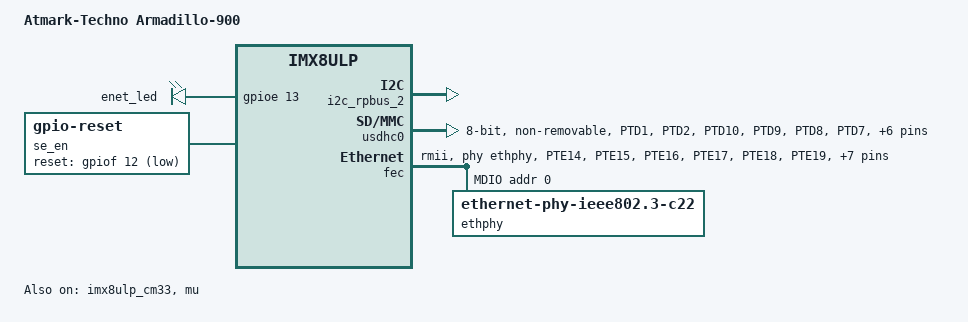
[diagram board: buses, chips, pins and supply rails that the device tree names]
// SPDX-License-Identifier: (GPL-2.0 OR MIT)
/*
 * Copyright (C) 2021 Atmark Techno, Inc. All Rights Reserved.
 */

#include "imx8ulp.dtsi"
#include "imx8ulp-rpmsg.dtsi"
#include "imx8ulp-pinfunc-m33.h"
#include <dt-bindings/input/input.h>
#include <dt-bindings/leds/common.h>

/ {
	model = "Atmark-Techno Armadillo-900";
	compatible = "atmark,armadillo-900", "fsl,imx8ulp";

	reserved-memory {
		#address-cells = <2>;
		#size-cells = <2>;
		ranges;

		linux,cma {
			compatible = "shared-dma-pool";
			reusable;
			size = <0 0x28000000>;
			linux,cma-default;
		};

		rsc_table: rsc_table@1fff8000{
			reg = <0 0x1fff8000 0 0x1000>;
			no-map;
		};

		vdev0vring0: vdev0vring0@aff00000 {
			reg = <0 0xaff00000 0 0x8000>;
			no-map;
		};

		vdev0vring1: vdev0vring1@aff08000 {
			reg = <0 0xaff08000 0 0x8000>;
			no-map;
		};

		vdev1vring0: vdev1vring0@aff10000 {
			reg = <0 0xaff10000 0 0x8000>;
			no-map;
		};

		vdev1vring1: vdev1vring1@aff18000 {
			reg = <0 0xaff18000 0 0x8000>;
			no-map;
		};

		ele_reserved: ele-reserved@aff20000 {
			compatible = "shared-dma-pool";
			reg = <0 0xaff20000 0 0x10000>;
			no-map;
		};

		vdevbuffer: vdevbuffer@a8400000 {
			compatible = "shared-dma-pool";
			reg = <0 0xa8400000 0 0x100000>;
			no-map;
		};
	};

	leds {
		compatible = "gpio-leds";

		enet_led {
			label = "enet_led";
			gpios = <&gpioe 13 GPIO_ACTIVE_HIGH>;
			linux,default-trigger = "29950000.ethernet-1:00:100Mbps";
		};
	};

	// secure element
	se_en: se-enable {
		compatible = "gpio-reset";
		pinctrl-names = "default";
		pinctrl-0 = <&pinctrl_se_enable>;
		reset-gpios = <&gpiof 12 GPIO_ACTIVE_LOW>;
		reset-assert-in-suspend;
	};
};

// secure element
&i2c_rpbus_2 {
	#address-cells = <1>;
	#size-cells = <0>;
	status = "okay";
};


&imx8ulp_cm33 {
	ipc-only;
	rsc-da=<0x1fff8000>;
	mbox-names = "tx", "rx", "rxdb";
	mboxes = <&mu 0 1
			&mu 1 1
			&mu 3 1>;
	memory-region = <&vdevbuffer>, <&vdev0vring0>, <&vdev0vring1>,
			<&vdev1vring0>, <&vdev1vring1>, <&rsc_table>;
	status = "okay";
};

&mu {
	status = "okay";
};

// emmc
&usdhc0 {
	pinctrl-names = "default", "state_100mhz", "state_200mhz", "sleep";
	pinctrl-0 = <&pinctrl_usdhc0>;
	pinctrl-1 = <&pinctrl_usdhc0>;
	pinctrl-2 = <&pinctrl_usdhc0>;
	pinctrl-3 = <&pinctrl_usdhc0>;
	non-removable;
	bus-width = <8>;
	status = "okay";
};

//ethernet PHY
&fec {
	pinctrl-names = "default", "sleep";
	pinctrl-0 = <&pinctrl_enet>;
	pinctrl-1 = <&pinctrl_enet>;
	phy-mode = "rmii";
	phy-handle = <&ethphy>;
	status = "okay";
	phy-reset-gpios = <&gpiof 13 GPIO_ACTIVE_LOW>;
	mdio {
		#address-cells = <1>;
		#size-cells = <0>;

		ethphy: ethernet-phy {
			compatible = "ethernet-phy-ieee802.3-c22";
			reg = <0>;

			ti,dac-cfg-0 = <0x0c40>;
			ti,dac-cfg-1 = <0x000f>;
		};
	};
};

// comm with ELE, used by fuse
&ele_fw2 {
	memory-region = <&ele_reserved>;
};

&iomuxc1 {

	pinctrl_enet: enetgrp {
		fsl,pins = <
			MX8ULP_PAD_PTE14__ENET0_MDIO	0x3
			MX8ULP_PAD_PTE15__ENET0_MDC		0x3
			MX8ULP_PAD_PTE16__ENET0_TXEN	0x3
			MX8ULP_PAD_PTE17__ENET0_RXER	0x3
			MX8ULP_PAD_PTE18__ENET0_CRS_DV	0x3
			MX8ULP_PAD_PTE19__ENET0_REFCLK	0x3
			MX8ULP_PAD_PTE20__ENET0_RXD1	0x3
			MX8ULP_PAD_PTE21__ENET0_RXD0	0x3
			MX8ULP_PAD_PTE22__ENET0_TXD1	0x3
			MX8ULP_PAD_PTE23__ENET0_TXD0	0x3
			MX8ULP_PAD_PTF13__PTF13			0x3
			MX8ULP_PAD_PTE13__PTE13			0x3
		>;
	};

	pinctrl_usdhc0: usdhc0grp {
		fsl,pins = <
			MX8ULP_PAD_PTD1__SDHC0_CMD	0x3
			MX8ULP_PAD_PTD2__SDHC0_CLK	0x10002
			MX8ULP_PAD_PTD10__SDHC0_D0	0x3
			MX8ULP_PAD_PTD9__SDHC0_D1	0x3
			MX8ULP_PAD_PTD8__SDHC0_D2	0x3
			MX8ULP_PAD_PTD7__SDHC0_D3	0x3
			MX8ULP_PAD_PTD6__SDHC0_D4	0x3
			MX8ULP_PAD_PTD5__SDHC0_D5	0x3
			MX8ULP_PAD_PTD4__SDHC0_D6	0x3
			MX8ULP_PAD_PTD3__SDHC0_D7	0x3
			MX8ULP_PAD_PTD11__SDHC0_DQS	0x10002
			MX8ULP_PAD_PTD0__SDHC0_RESET_B	0x3
		>;
	};

	pinctrl_se_enable: seenablegrp {
		fsl,pins = <
			MX8ULP_PAD_PTF12__PTF12		0x3
		>;
	};
};
